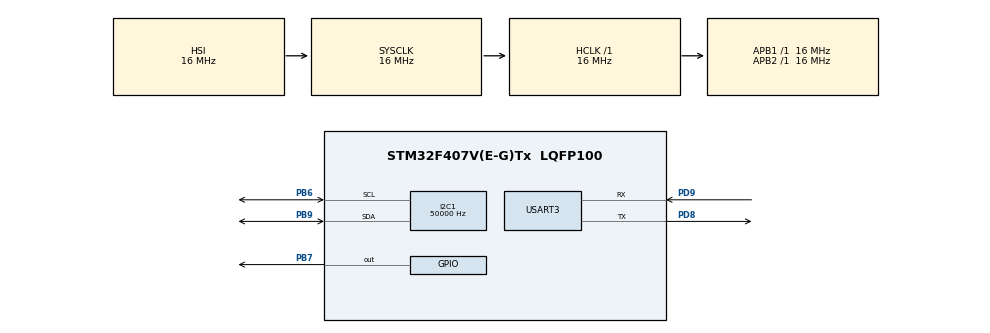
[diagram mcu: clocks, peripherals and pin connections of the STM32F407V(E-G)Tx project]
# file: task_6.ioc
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I2C1.ClockSpeed=50000
I2C1.I2C_Mode=I2C_Standard
Mcu.Family=STM32F4
Mcu.Name=STM32F407V(E-G)Tx
Mcu.Package=LQFP100
NVIC.PriorityGroup=NVIC_PRIORITYGROUP_4
PB6.Mode=I2C
PB6.Signal=I2C1_SCL
PB7.Signal=GPIO_Output
PB9.Mode=I2C
PB9.Signal=I2C1_SDA
PD8.Mode=Asynchronous
PD8.Signal=USART3_TX
PD9.Mode=Asynchronous
PD9.Signal=USART3_RX
ProjectManager.HeapSize=0x200
ProjectManager.StackSize=0x400
ProjectManager.TargetToolchain=STM32CubeIDE
RCC.AHBFreq_Value=16000000
RCC.APB1Freq_Value=16000000
RCC.APB2Freq_Value=16000000
RCC.CortexFreq_Value=16000000
RCC.HSE_VALUE=25000000
RCC.HSI_VALUE=16000000
RCC.LSE_VALUE=32768
RCC.SYSCLKFreq_VALUE=16000000
RCC.VCOOutputFreq_Value=192000000
USART3.VirtualMode=VM_ASYNC
board=custom

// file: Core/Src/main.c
/* USER CODE BEGIN Header */
/**
  ******************************************************************************
  * @file           : main.c
  * @brief          : Main program body
  ******************************************************************************
  * @attention
  *
  * Copyright (c) 2023 STMicroelectronics.
  * All rights reserved.
  *
  * This software is licensed under terms that can be found in the LICENSE file
  * in the root directory of this software component.
  * If no LICENSE file comes with this software, it is provided AS-IS.
  *
  ******************************************************************************
  */
/* USER CODE END Header */
#include "main.h"

/* USER CODE BEGIN Includes */
#include <string.h>
#include <stdlib.h>
#include "UsrSrc/pwm_i2c_controller.h"

/* USER CODE END Includes */

I2C_HandleTypeDef hi2c1;

UART_HandleTypeDef huart3;

void SystemClock_Config(void);
static void MX_GPIO_Init(void);
static void MX_I2C1_Init(void);
static void MX_USART3_UART_Init(void);

int main(void)
{

  /* MCU Configuration--------------------------------------------------------*/

  /* Reset of all peripherals, Initializes the Flash interface and the Systick. */
  HAL_Init();

  /* Configure the system clock */
  SystemClock_Config();

  /* Initialize all configured peripherals */
  MX_GPIO_Init();
  MX_I2C1_Init();
  MX_USART3_UART_Init();

  /* Infinite loop */
  /* USER CODE BEGIN WHILE */

  	pwm_i2c_controller_init(&hi2c1, 0.1);
  	pwm_i2c_controller_toggle_sleep();
  	pwm_i2c_controller_duty_cycle_set(VNO_ALL_LED_ON_L, 0.5);

//  	HAL_Delay(5000);
//  	pwm_i2c_controller_set_frequency(24);
//  	pwm_i2c_controller_duty_cycle_set(VNO_ALL_LED_ON_L, 0.7);
//  	HAL_Delay(3000);
//  	pwm_i2c_controller_duty_cycle_add(0);
//  	HAL_Delay(4000);
//  	pwm_i2c_controller_toggle_channels();

  while (1)
  {
	  char rcvBuf[7];
	  HAL_StatusTypeDef result;
	  char command[3];
	  char data[4];
	  data[3] = '\n';

	  result = HAL_UART_Receive(&huart3, (uint8_t*)rcvBuf, 7, 10);

	  if (result == HAL_OK) {

		  // Extracting received data
		  strncpy(command, rcvBuf, 3);
		  strncpy(data, rcvBuf+4, 3);

		  // Command tree
		  if (strcmp(command, "slp")) { // Sleep functions
			  if (strcmp(command, "slp")) {	// Sleep
				  pwm_i2c_controller_sleep();
			  } else if(strcmp(command, "wkp")) { // Wake up
				  pwm_i2c_controller_wake_up();
			  } else if(strcmp(command, "tgl")) { // Toggle sleep
				  pwm_i2c_controller_toggle_sleep();
			  }
		  } else if (strcmp(command, "chn")) { // Channel
			  if (strcmp(command, "tlg")) {	// Toggle channel
				  pwm_i2c_controller_toggle_channels();
			  }
		  } else if (strcmp(command, "duc")) { // Duty cycle change
			  if (strcmp(command, "add")) {	// Add duty cycles
				  pwm_i2c_controller_duty_cycle_add(0);
			  } else if(strcmp(command, "sub")) { // Subtract duty cycles
				  pwm_i2c_controller_duty_cycle_sub(0);
			  } else {
				  pwm_i2c_controller_duty_cycle_set(0, strtof(data, NULL));
			  }
		  } else if (strcmp(command, "frq")) { // Frequency change
			  pwm_i2c_controller_frequency_set((uint8_t)strtol(data, NULL, 10));
		  }
	  }
    /* USER CODE END WHILE */

  }
}

void SystemClock_Config(void)
{
  RCC_OscInitTypeDef RCC_OscInitStruct = {0};
  RCC_ClkInitTypeDef RCC_ClkInitStruct = {0};

  /** Configure the main internal regulator output voltage
  */
  __HAL_RCC_PWR_CLK_ENABLE();
  __HAL_PWR_VOLTAGESCALING_CONFIG(PWR_REGULATOR_VOLTAGE_SCALE1);

  /** Initializes the RCC Oscillators according to the specified parameters
  * in the RCC_OscInitTypeDef structure.
  */
  RCC_OscInitStruct.OscillatorType = RCC_OSCILLATORTYPE_HSI;
  RCC_OscInitStruct.HSIState = RCC_HSI_ON;
  RCC_OscInitStruct.HSICalibrationValue = RCC_HSICALIBRATION_DEFAULT;
  RCC_OscInitStruct.PLL.PLLState = RCC_PLL_NONE;
  if (HAL_RCC_OscConfig(&RCC_OscInitStruct) != HAL_OK)
  {
    Error_Handler();
  }

  /** Initializes the CPU, AHB and APB buses clocks
  */
  RCC_ClkInitStruct.ClockType = RCC_CLOCKTYPE_HCLK|RCC_CLOCKTYPE_SYSCLK
                              |RCC_CLOCKTYPE_PCLK1|RCC_CLOCKTYPE_PCLK2;
  RCC_ClkInitStruct.SYSCLKSource = RCC_SYSCLKSOURCE_HSI;
  RCC_ClkInitStruct.AHBCLKDivider = RCC_SYSCLK_DIV1;
  RCC_ClkInitStruct.APB1CLKDivider = RCC_HCLK_DIV1;
  RCC_ClkInitStruct.APB2CLKDivider = RCC_HCLK_DIV1;

  if (HAL_RCC_ClockConfig(&RCC_ClkInitStruct, FLASH_LATENCY_0) != HAL_OK)
  {
    Error_Handler();
  }
}

static void MX_I2C1_Init(void)
{

  hi2c1.Instance = I2C1;
  hi2c1.Init.ClockSpeed = 50000;
  hi2c1.Init.DutyCycle = I2C_DUTYCYCLE_2;
  hi2c1.Init.OwnAddress1 = 0;
  hi2c1.Init.AddressingMode = I2C_ADDRESSINGMODE_7BIT;
  hi2c1.Init.DualAddressMode = I2C_DUALADDRESS_DISABLE;
  hi2c1.Init.OwnAddress2 = 0;
  hi2c1.Init.GeneralCallMode = I2C_GENERALCALL_DISABLE;
  hi2c1.Init.NoStretchMode = I2C_NOSTRETCH_DISABLE;
  if (HAL_I2C_Init(&hi2c1) != HAL_OK)
  {
    Error_Handler();
  }

}

static void MX_USART3_UART_Init(void)
{

  huart3.Instance = USART3;
  huart3.Init.BaudRate = 115200;
  huart3.Init.WordLength = UART_WORDLENGTH_8B;
  huart3.Init.StopBits = UART_STOPBITS_1;
  huart3.Init.Parity = UART_PARITY_NONE;
  huart3.Init.Mode = UART_MODE_TX_RX;
  huart3.Init.HwFlowCtl = UART_HWCONTROL_NONE;
  huart3.Init.OverSampling = UART_OVERSAMPLING_16;
  if (HAL_UART_Init(&huart3) != HAL_OK)
  {
    Error_Handler();
  }

}

static void MX_GPIO_Init(void)
{
  GPIO_InitTypeDef GPIO_InitStruct = {0};

  /* GPIO Ports Clock Enable */
  __HAL_RCC_GPIOD_CLK_ENABLE();
  __HAL_RCC_GPIOB_CLK_ENABLE();

  /*Configure GPIO pin Output Level */
  HAL_GPIO_WritePin(GPIOB, GPIO_PIN_7, GPIO_PIN_RESET);

  /*Configure GPIO pin : PB7 */
  GPIO_InitStruct.Pin = GPIO_PIN_7;
  GPIO_InitStruct.Mode = GPIO_MODE_OUTPUT_PP;
  GPIO_InitStruct.Pull = GPIO_NOPULL;
  GPIO_InitStruct.Speed = GPIO_SPEED_FREQ_LOW;
  HAL_GPIO_Init(GPIOB, &GPIO_InitStruct);

}

void Error_Handler(void)
{
  __disable_irq();
  while (1)
  {
  }
}
